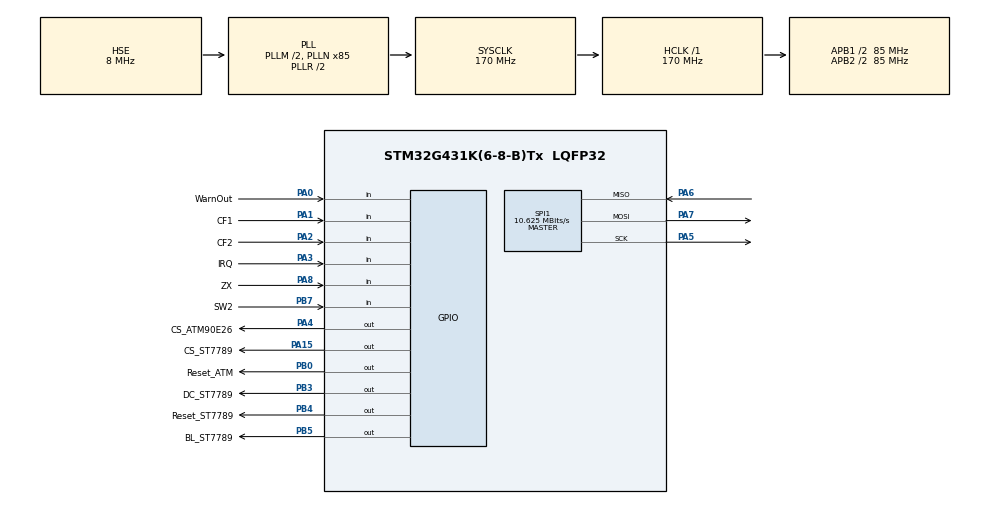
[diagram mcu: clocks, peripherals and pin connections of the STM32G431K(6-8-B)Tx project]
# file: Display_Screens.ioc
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Mcu.Family=STM32G4
Mcu.Name=STM32G431K(6-8-B)Tx
Mcu.Package=LQFP32
NVIC.PriorityGroup=NVIC_PRIORITYGROUP_4
PA0.GPIO_Label=WarnOut
PA0.Signal=GPIO_Input
PA1.GPIO_Label=CF1
PA1.Signal=GPIO_Input
PA13.Mode=Serial_Wire
PA13.Signal=SYS_JTMS-SWDIO
PA14.Mode=Serial_Wire
PA14.Signal=SYS_JTCK-SWCLK
PA15.GPIO_Label=CS_ST7789
PA15.GPIO_Speed=GPIO_SPEED_FREQ_HIGH
PA15.PinState=GPIO_PIN_SET
PA15.Signal=GPIO_Output
PA2.GPIO_Label=CF2
PA2.Signal=GPIO_Input
PA3.GPIO_Label=IRQ
PA3.Signal=GPIO_Input
PA4.GPIO_Label=CS_ATM90E26
PA4.GPIO_Speed=GPIO_SPEED_FREQ_HIGH
PA4.PinState=GPIO_PIN_SET
PA4.Signal=GPIO_Output
PA5.Mode=Full_Duplex_Master
PA5.Signal=SPI1_SCK
PA6.Mode=Full_Duplex_Master
PA6.Signal=SPI1_MISO
PA7.Mode=Full_Duplex_Master
PA7.Signal=SPI1_MOSI
PA8.GPIO_Label=ZX
PA8.Signal=GPIO_Input
PB0.GPIO_Label=Reset_ATM
PB0.PinState=GPIO_PIN_SET
PB0.Signal=GPIO_Output
PB3.GPIO_Label=DC_ST7789
PB3.GPIO_Speed=GPIO_SPEED_FREQ_HIGH
PB3.Signal=GPIO_Output
PB4.GPIO_Label=Reset_ST7789
PB4.GPIO_Speed=GPIO_SPEED_FREQ_HIGH
PB4.Signal=GPIO_Output
PB5.GPIO_Label=BL_ST7789
PB5.GPIO_Speed=GPIO_SPEED_FREQ_HIGH
PB5.Signal=GPIO_Output
PB7.GPIO_Label=SW2
PB7.GPIO_PuPd=GPIO_PULLUP
PB7.Signal=GPIO_Input
PF0-OSC_IN.Mode=HSE-External-Oscillator
PF0-OSC_IN.Signal=RCC_OSC_IN
PF1-OSC_OUT.Mode=HSE-External-Oscillator
PF1-OSC_OUT.Signal=RCC_OSC_OUT
ProjectManager.HeapSize=0x200
ProjectManager.StackSize=0x400
ProjectManager.TargetToolchain=STM32CubeIDE
RCC.ADC12Freq_Value=170000000
RCC.AHBFreq_Value=170000000
RCC.APB1CLKDivider=RCC_HCLK_DIV2
RCC.APB1Freq_Value=85000000
RCC.APB1TimFreq_Value=170000000
RCC.APB2CLKDivider=RCC_HCLK_DIV2
RCC.APB2Freq_Value=85000000
RCC.APB2TimFreq_Value=170000000
RCC.CortexFreq_Value=170000000
RCC.EXTERNAL_CLOCK_VALUE=12288000
RCC.HCLKFreq_Value=170000000
RCC.HSE_VALUE=8000000
RCC.HSI48_VALUE=48000000
RCC.HSI_VALUE=16000000
RCC.LSE_VALUE=32768
RCC.PLLM=RCC_PLLM_DIV2
RCC.PLLN=85
RCC.PLLSourceVirtual=RCC_PLLSOURCE_HSE
RCC.SYSCLKFreq_VALUE=170000000
RCC.SYSCLKSource=RCC_SYSCLKSOURCE_PLLCLK
RCC.USBFreq_Value=170000000
RCC.VCOOutputFreq_Value=340000000
SPI1.BaudRatePrescaler=SPI_BAUDRATEPRESCALER_8
SPI1.CalculateBaudRate=10.625 MBits/s
SPI1.DataSize=SPI_DATASIZE_8BIT
SPI1.Direction=SPI_DIRECTION_2LINES
SPI1.Mode=SPI_MODE_MASTER
SPI1.NSSPMode=SPI_NSS_PULSE_DISABLE
SPI1.VirtualType=VM_MASTER
VP_SYS_VS_DBSignals.Mode=DisableDeadBatterySignals
board=custom

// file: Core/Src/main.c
/* USER CODE BEGIN Header */
/**
  ******************************************************************************
  * @file           : main.c
  * @brief          : Main program body
  ******************************************************************************
  * @attention
  *
  * Copyright (c) 2026 STMicroelectronics.
  * All rights reserved.
  *
  * This software is licensed under terms that can be found in the LICENSE file
  * in the root directory of this software component.
  * If no LICENSE file comes with this software, it is provided AS-IS.
  *
  ******************************************************************************
  */
/* USER CODE END Header */
#include "main.h"

/* USER CODE BEGIN Includes */
#include "tests.h"
#include "st7789.h"
#include "screens.h"
#include "atm90e26.h"

/* USER CODE END Includes */

/* USER CODE BEGIN PD */
#define BTN_DEBOUNCE_MS  50
/* USER CODE END PD */

SPI_HandleTypeDef hspi1;

/* USER CODE BEGIN PV */
static uint8_t  _btn_last    = 1;   /* last stable GPIO level (idle=1 pull-up) */
static uint32_t _btn_time    = 0;
/* USER CODE END PV */

void SystemClock_Config(void);
static void MX_GPIO_Init(void);
static void MX_SPI1_Init(void);

/* USER CODE BEGIN 0 */

/* Helpers */
static void Button_Poll(void);
/* USER CODE END 0 */

int main(void)
{

  /* MCU Configuration--------------------------------------------------------*/

  /* Reset of all peripherals, Initializes the Flash interface and the Systick. */
  HAL_Init();

  /* Configure the system clock */
  SystemClock_Config();

  /* Initialize all configured peripherals */
  MX_GPIO_Init();
  MX_SPI1_Init();
  /* USER CODE BEGIN 2 */
  ST7789_Init();
  HAL_GPIO_WritePin(BL_ST7789_GPIO_Port, BL_ST7789_Pin, GPIO_PIN_SET);
  Screens_Init();
  ATM_Init();

	/*EnergyData_t data = {
			.voltage        = 233.8f,
			.current        = 7.327f,
			.active_power   = 1994.2f,
			.reactive_power = 121.3f,
			.apparent_power = 1001.6f,
			.power_factor   = 0.993f,
			.frequency      = 50.01f,
			.energy_wh      = 8284.7f,
			.v_min          = 224.2f,
			.v_max          = 234.6f,
			.i_min          = 0.21f,
			.i_max          = 8.40f,
			.p_min          = 0.0f,
			.p_max          = 2100.0f,
			.session_sec    = 4663,
		};*/

    uint32_t last_read_ms = 0;
  /* USER CODE END 2 */

  /* Infinite loop */
  /* USER CODE BEGIN WHILE */
  while (1)
  {
	  //ST7789_FillColor(BLACK);

	  //Test_SPI_Comms();
	  //HAL_Delay(5000);
	  //Run_Tests();
	  uint32_t now = HAL_GetTick();

	  	  Button_Poll();

	  	  if ((now - last_read_ms) >= 500)
	  	  {
	  		  ATM_ReadAll();
	  		  Screens_UpdateStats(&g_energy);
	  		  g_energy.session_sec += (now - last_read_ms) / 1000;
	  		  last_read_ms = now;
	  		  Screens_Update(&g_energy);
	  	  }

    /* USER CODE END WHILE */

  }
}

void SystemClock_Config(void)
{
  RCC_OscInitTypeDef RCC_OscInitStruct = {0};
  RCC_ClkInitTypeDef RCC_ClkInitStruct = {0};

  /** Configure the main internal regulator output voltage
  */
  HAL_PWREx_ControlVoltageScaling(PWR_REGULATOR_VOLTAGE_SCALE1_BOOST);

  /** Initializes the RCC Oscillators according to the specified parameters
  * in the RCC_OscInitTypeDef structure.
  */
  RCC_OscInitStruct.OscillatorType = RCC_OSCILLATORTYPE_HSE;
  RCC_OscInitStruct.HSEState = RCC_HSE_ON;
  RCC_OscInitStruct.PLL.PLLState = RCC_PLL_ON;
  RCC_OscInitStruct.PLL.PLLSource = RCC_PLLSOURCE_HSE;
  RCC_OscInitStruct.PLL.PLLM = RCC_PLLM_DIV2;
  RCC_OscInitStruct.PLL.PLLN = 85;
  RCC_OscInitStruct.PLL.PLLP = RCC_PLLP_DIV2;
  RCC_OscInitStruct.PLL.PLLQ = RCC_PLLQ_DIV2;
  RCC_OscInitStruct.PLL.PLLR = RCC_PLLR_DIV2;
  if (HAL_RCC_OscConfig(&RCC_OscInitStruct) != HAL_OK)
  {
    Error_Handler();
  }

  /** Initializes the CPU, AHB and APB buses clocks
  */
  RCC_ClkInitStruct.ClockType = RCC_CLOCKTYPE_HCLK|RCC_CLOCKTYPE_SYSCLK
                              |RCC_CLOCKTYPE_PCLK1|RCC_CLOCKTYPE_PCLK2;
  RCC_ClkInitStruct.SYSCLKSource = RCC_SYSCLKSOURCE_PLLCLK;
  RCC_ClkInitStruct.AHBCLKDivider = RCC_SYSCLK_DIV1;
  RCC_ClkInitStruct.APB1CLKDivider = RCC_HCLK_DIV2;
  RCC_ClkInitStruct.APB2CLKDivider = RCC_HCLK_DIV2;

  if (HAL_RCC_ClockConfig(&RCC_ClkInitStruct, FLASH_LATENCY_4) != HAL_OK)
  {
    Error_Handler();
  }
}

static void MX_SPI1_Init(void)
{

  /* SPI1 parameter configuration*/
  hspi1.Instance = SPI1;
  hspi1.Init.Mode = SPI_MODE_MASTER;
  hspi1.Init.Direction = SPI_DIRECTION_2LINES;
  hspi1.Init.DataSize = SPI_DATASIZE_8BIT;
  hspi1.Init.CLKPolarity = SPI_POLARITY_LOW;
  hspi1.Init.CLKPhase = SPI_PHASE_1EDGE;
  hspi1.Init.NSS = SPI_NSS_SOFT;
  hspi1.Init.BaudRatePrescaler = SPI_BAUDRATEPRESCALER_8;
  hspi1.Init.FirstBit = SPI_FIRSTBIT_MSB;
  hspi1.Init.TIMode = SPI_TIMODE_DISABLE;
  hspi1.Init.CRCCalculation = SPI_CRCCALCULATION_DISABLE;
  hspi1.Init.CRCPolynomial = 7;
  hspi1.Init.CRCLength = SPI_CRC_LENGTH_DATASIZE;
  hspi1.Init.NSSPMode = SPI_NSS_PULSE_DISABLE;
  if (HAL_SPI_Init(&hspi1) != HAL_OK)
  {
    Error_Handler();
  }

}

static void MX_GPIO_Init(void)
{
  GPIO_InitTypeDef GPIO_InitStruct = {0};

  /* GPIO Ports Clock Enable */
  __HAL_RCC_GPIOF_CLK_ENABLE();
  __HAL_RCC_GPIOA_CLK_ENABLE();
  __HAL_RCC_GPIOB_CLK_ENABLE();

  /*Configure GPIO pin Output Level */
  HAL_GPIO_WritePin(GPIOA, CS_ATM90E26_Pin|CS_ST7789_Pin, GPIO_PIN_SET);

  /*Configure GPIO pin Output Level */
  HAL_GPIO_WritePin(Reset_ATM_GPIO_Port, Reset_ATM_Pin, GPIO_PIN_SET);

  /*Configure GPIO pin Output Level */
  HAL_GPIO_WritePin(GPIOB, DC_ST7789_Pin|Reset_ST7789_Pin|BL_ST7789_Pin, GPIO_PIN_RESET);

  /*Configure GPIO pins : WarnOut_Pin CF1_Pin CF2_Pin IRQ_Pin
                           ZX_Pin */
  GPIO_InitStruct.Pin = WarnOut_Pin|CF1_Pin|CF2_Pin|IRQ_Pin
                          |ZX_Pin;
  GPIO_InitStruct.Mode = GPIO_MODE_INPUT;
  GPIO_InitStruct.Pull = GPIO_NOPULL;
  HAL_GPIO_Init(GPIOA, &GPIO_InitStruct);

  /*Configure GPIO pins : CS_ATM90E26_Pin CS_ST7789_Pin */
  GPIO_InitStruct.Pin = CS_ATM90E26_Pin|CS_ST7789_Pin;
  GPIO_InitStruct.Mode = GPIO_MODE_OUTPUT_PP;
  GPIO_InitStruct.Pull = GPIO_NOPULL;
  GPIO_InitStruct.Speed = GPIO_SPEED_FREQ_HIGH;
  HAL_GPIO_Init(GPIOA, &GPIO_InitStruct);

  /*Configure GPIO pin : Reset_ATM_Pin */
  GPIO_InitStruct.Pin = Reset_ATM_Pin;
  GPIO_InitStruct.Mode = GPIO_MODE_OUTPUT_PP;
  GPIO_InitStruct.Pull = GPIO_NOPULL;
  GPIO_InitStruct.Speed = GPIO_SPEED_FREQ_LOW;
  HAL_GPIO_Init(Reset_ATM_GPIO_Port, &GPIO_InitStruct);

  /*Configure GPIO pins : DC_ST7789_Pin Reset_ST7789_Pin BL_ST7789_Pin */
  GPIO_InitStruct.Pin = DC_ST7789_Pin|Reset_ST7789_Pin|BL_ST7789_Pin;
  GPIO_InitStruct.Mode = GPIO_MODE_OUTPUT_PP;
  GPIO_InitStruct.Pull = GPIO_NOPULL;
  GPIO_InitStruct.Speed = GPIO_SPEED_FREQ_HIGH;
  HAL_GPIO_Init(GPIOB, &GPIO_InitStruct);

  /*Configure GPIO pin : SW2_Pin */
  GPIO_InitStruct.Pin = SW2_Pin;
  GPIO_InitStruct.Mode = GPIO_MODE_INPUT;
  GPIO_InitStruct.Pull = GPIO_PULLUP;
  HAL_GPIO_Init(SW2_GPIO_Port, &GPIO_InitStruct);

}

/* USER CODE BEGIN 4 */

/* ════════════════════════════════════════════════════════════════════
   BUTTON POLLING
   Reads SW2 on PB7 (active-LOW, internal pull-up).
   On each falling edge (press), advances to the next screen.
   Screens cycle: VOLTAGE → CURRENT → POWER → ENERGY → VOLTAGE ...
   ════════════════════════════════════════════════════════════════════ */
static void Button_Poll(void)
{
    uint8_t  level = HAL_GPIO_ReadPin(SW2_GPIO_Port, SW2_Pin);
    uint32_t now   = HAL_GetTick();

    /* Detect falling edge (idle HIGH → pressed LOW) */
    if (_btn_last == 1 && level == GPIO_PIN_RESET)
    {
        /* Debounce: ignore edges within 50 ms of the last one */
    	if ((now - _btn_time) >= BTN_DEBOUNCE_MS)
        {
            _btn_time = now;
            Screens_NextState();          /* advance screen */
            Screens_Update(&g_energy);    /* immediate redraw */
        }
    }
    _btn_last = level;
}

/* USER CODE END 4 */

void Error_Handler(void)
{
  __disable_irq();
  while (1)
  {
  }
}
